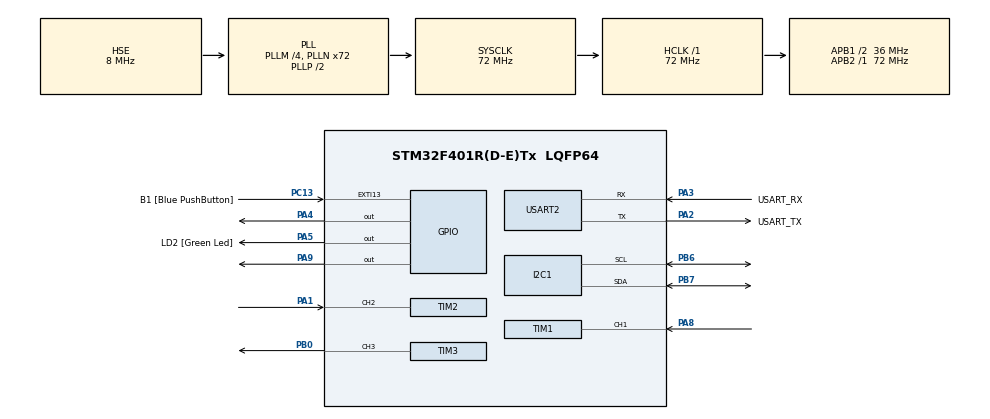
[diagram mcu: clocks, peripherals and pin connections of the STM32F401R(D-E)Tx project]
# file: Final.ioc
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Mcu.Family=STM32F4
Mcu.Name=STM32F401R(D-E)Tx
Mcu.Package=LQFP64
NVIC.EXTI15_10_IRQn=true\:2\:0\:true\:false\:true\:true\:true
NVIC.PriorityGroup=NVIC_PRIORITYGROUP_2
NVIC.TIM1_CC_IRQn=true\:2\:0\:true\:false\:true\:true\:true
NVIC.TIM2_IRQn=true\:2\:0\:true\:false\:true\:true\:true
NVIC.TIM3_IRQn=true\:2\:0\:true\:false\:true\:true\:true
PA1.Signal=S_TIM2_CH2
PA13.GPIO_Label=TMS
PA13.Mode=Serial_Wire
PA13.Signal=SYS_JTMS-SWDIO
PA14.GPIO_Label=TCK
PA14.Mode=Serial_Wire
PA14.Signal=SYS_JTCK-SWCLK
PA2.GPIO_Label=USART_TX
PA2.GPIO_Mode=GPIO_MODE_AF_PP
PA2.GPIO_PuPd=GPIO_NOPULL
PA2.GPIO_Speed=GPIO_SPEED_FREQ_LOW
PA2.Mode=Asynchronous
PA2.Signal=USART2_TX
PA3.GPIO_Label=USART_RX
PA3.GPIO_Mode=GPIO_MODE_AF_PP
PA3.GPIO_PuPd=GPIO_NOPULL
PA3.GPIO_Speed=GPIO_SPEED_FREQ_LOW
PA3.Mode=Asynchronous
PA3.Signal=USART2_RX
PA4.Signal=GPIO_Output
PA5.GPIO_Label=LD2 [Green Led]
PA5.GPIO_Mode=GPIO_MODE_OUTPUT_PP
PA5.GPIO_PuPd=GPIO_NOPULL
PA5.GPIO_Speed=GPIO_SPEED_FREQ_LOW
PA5.Signal=GPIO_Output
PA8.Signal=S_TIM1_CH1
PA9.PinState=GPIO_PIN_RESET
PA9.Signal=GPIO_Output
PB0.Signal=S_TIM3_CH3
PB3.GPIO_Label=SWO
PB3.Signal=SYS_JTDO-SWO
PB6.Mode=I2C
PB6.Signal=I2C1_SCL
PB7.Mode=I2C
PB7.Signal=I2C1_SDA
PC13-ANTI_TAMP.GPIO_Label=B1 [Blue PushButton]
PC13-ANTI_TAMP.GPIO_ModeDefaultEXTI=GPIO_MODE_IT_FALLING
PC13-ANTI_TAMP.GPIO_PuPd=GPIO_NOPULL
PC13-ANTI_TAMP.Signal=GPXTI13
PC14-OSC32_IN.Signal=RCC_OSC32_IN
PC15-OSC32_OUT.Signal=RCC_OSC32_OUT
PH0\ -\ OSC_IN.Mode=HSE-External-Oscillator
PH0\ -\ OSC_IN.Signal=RCC_OSC_IN
PH1\ -\ OSC_OUT.Mode=HSE-External-Oscillator
PH1\ -\ OSC_OUT.Signal=RCC_OSC_OUT
ProjectManager.HeapSize=0x200
ProjectManager.StackSize=0x400
ProjectManager.TargetToolchain=STM32CubeIDE
RCC.48MHZClocksFreq_Value=20571428.57142857
RCC.AHBFreq_Value=72000000
RCC.APB1CLKDivider=RCC_HCLK_DIV2
RCC.APB1Freq_Value=36000000
RCC.APB1TimFreq_Value=72000000
RCC.APB2Freq_Value=72000000
RCC.APB2TimFreq_Value=72000000
RCC.CortexFreq_Value=72000000
RCC.HCLKFreq_Value=72000000
RCC.HSE_VALUE=8000000
RCC.HSI_VALUE=16000000
RCC.LSE_VALUE=32768
RCC.PLLM=4
RCC.PLLN=72
RCC.PLLQ=7
RCC.PLLSourceVirtual=RCC_PLLSOURCE_HSE
RCC.SYSCLKFreq_VALUE=72000000
RCC.SYSCLKSource=RCC_SYSCLKSOURCE_PLLCLK
RCC.VCOOutputFreq_Value=144000000
SH.S_TIM1_CH1.0=TIM1_CH1,Input_Capture1_from_TI1
SH.S_TIM2_CH2.0=TIM2_CH2,Input_Capture2_from_TI2
SH.S_TIM3_CH3.0=TIM3_CH3,PWM Generation3 CH3
TIM1.Channel-Input_Capture1_from_TI1=TIM_CHANNEL_1
TIM1.Period=0xFFFF-1
TIM1.Prescaler=72-1
TIM2.Channel-Input_Capture2_from_TI2=TIM_CHANNEL_2
TIM2.Period=0xffff-1
TIM2.Prescaler=72-1
TIM3.Channel-PWM\ Generation3\ CH3=TIM_CHANNEL_3
TIM3.Period=0xffff-1
TIM3.Prescaler=72-1
USART2.VirtualMode=VM_ASYNC
board=NUCLEO-F401RE

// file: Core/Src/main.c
/* USER CODE BEGIN Header */
/**
  ******************************************************************************
  * @file           : main.c
  * @brief          : Main program body
  ******************************************************************************
  * @attention
  *
  * Copyright (c) 2022 STMicroelectronics.
  * All rights reserved.
  *
  * This software is licensed under terms that can be found in the LICENSE file
  * in the root directory of this software component.
  * If no LICENSE file comes with this software, it is provided AS-IS.
  *
  ******************************************************************************
  */
/* USER CODE END Header */
#include "main.h"

I2C_HandleTypeDef hi2c1;

TIM_HandleTypeDef htim1;
TIM_HandleTypeDef htim2;
TIM_HandleTypeDef htim3;

UART_HandleTypeDef huart2;

void SystemClock_Config(void);
static void MX_GPIO_Init(void);
static void MX_USART2_UART_Init(void);
static void MX_I2C1_Init(void);
static void MX_TIM1_Init(void);
static void MX_TIM2_Init(void);
static void MX_TIM3_Init(void);

/* USER CODE BEGIN 0 */
void delay(uint16_t time){
	__HAL_TIM_SET_COUNTER(&htim1, 0);
	while(__HAL_TIM_GET_COUNTER(&htim1) < time);
}

int counter_tim3 = 0;
void HAL_TIM_PeriodElapsedCallback(TIM_HandleTypeDef *htim) {
	if (htim->Instance == TIM3) {
		counter_tim3++;
	}
}

int num = 0;
uint8_t state  = 0;
const uint8_t object_dis = 20;
uint32_t Difference = 0;

uint32_t IC_Val1 = 0;
uint32_t IC_Val12 = 0;
uint32_t IC_Val2 = 0;
uint32_t IC_Val22 = 0;
uint8_t Is_First_Captured = 0;  // is the first value captured ?
uint8_t Is_First_Captured2 = 0;
uint8_t Distance = object_dis;
uint8_t Distance2 = object_dis;

#define TRIG_PORT_1 GPIOA
#define TRIG_PIN_1 GPIO_PIN_9

#define TRIG_PORT_2 GPIOA
#define TRIG_PIN_2 GPIO_PIN_4

// Let's write the callback function

uint8_t cal_dis(uint32_t val1, uint32_t val2){
	if (val2 > val1){
		Difference = val2-val1;
	}else if (val1 > val2){
		Difference = (0xffff - val1) + val2;
	}
	return Difference * .034/2;
}

void Trig_Ultrasonic_1(TIM_HandleTypeDef *htim){
	if (Is_First_Captured==0) // if the first value is not captured
	{
		IC_Val1 = HAL_TIM_ReadCapturedValue(htim, TIM_CHANNEL_1); // read the first value
		Is_First_Captured = 1;  // set the first captured as true
		// Now change the polarity to falling edge
		__HAL_TIM_SET_CAPTUREPOLARITY(htim, TIM_CHANNEL_1, TIM_INPUTCHANNELPOLARITY_FALLING);
	}
	else if (Is_First_Captured==1)   // if the first is already captured
	{
		IC_Val2 = HAL_TIM_ReadCapturedValue(htim, TIM_CHANNEL_1);  // read second value
		__HAL_TIM_SET_COUNTER(htim, 0);  // reset the counter

		Distance = cal_dis(IC_Val1, IC_Val2);
		Is_First_Captured = 0; // set it back to false

		// set polarity to rising edge
		__HAL_TIM_SET_CAPTUREPOLARITY(htim, TIM_CHANNEL_1, TIM_INPUTCHANNELPOLARITY_RISING);
		__HAL_TIM_DISABLE_IT(&htim1, TIM_IT_CC1);
	}
}

void Trig_Ultrasonic_2(TIM_HandleTypeDef *htim){
	if (Is_First_Captured2==0) // if the first value is not captured
	{
		IC_Val12 = HAL_TIM_ReadCapturedValue(htim, TIM_CHANNEL_2); // read the first value
		Is_First_Captured2 = 1;  // set the first captured as true
		// Now change the polarity to falling edge
		__HAL_TIM_SET_CAPTUREPOLARITY(htim, TIM_CHANNEL_2, TIM_INPUTCHANNELPOLARITY_FALLING);
	}

	else if (Is_First_Captured2==1)   // if the first is already captured
	{
		IC_Val22 = HAL_TIM_ReadCapturedValue(htim, TIM_CHANNEL_2);  // read second value
		__HAL_TIM_SET_COUNTER(htim, 0);  // reset the counter

		Distance2 = cal_dis(IC_Val12, IC_Val22);
		Is_First_Captured2 = 0; // set it back to false

		// set polarity to rising edge
		__HAL_TIM_SET_CAPTUREPOLARITY(htim, TIM_CHANNEL_2, TIM_INPUTCHANNELPOLARITY_RISING);
		__HAL_TIM_DISABLE_IT(&htim2, TIM_IT_CC2);
	}
}

void HAL_TIM_IC_CaptureCallback(TIM_HandleTypeDef *htim)
{
	if(htim->Channel == HAL_TIM_ACTIVE_CHANNEL_1){ // if the interrupt source is channel1
		Trig_Ultrasonic_1(htim);
	}
	if(htim->Channel == HAL_TIM_ACTIVE_CHANNEL_2){ // if the interrupt source is channel2
		Trig_Ultrasonic_2(htim);
	}
}

void HCSR04_Read (void)
{
	HAL_GPIO_WritePin(TRIG_PORT_1, TRIG_PIN_1, GPIO_PIN_SET);  // pull the TRIG_1 pin HIGH
	HAL_GPIO_WritePin(TRIG_PORT_2, TRIG_PIN_2, GPIO_PIN_SET);  // pull the TRIG_2 pin HIGH
	delay(10);  // wait for 10 us
	HAL_GPIO_WritePin(TRIG_PORT_1, TRIG_PIN_1, GPIO_PIN_RESET);   // pull the TRIG_1 pin low
	HAL_GPIO_WritePin(TRIG_PORT_2, TRIG_PIN_2, GPIO_PIN_RESET);   // pull the TRIG_2 pin low
	__HAL_TIM_ENABLE_IT(&htim1, TIM_IT_CC1);
	__HAL_TIM_ENABLE_IT(&htim2, TIM_IT_CC2);
}
/* USER CODE END 0 */

int main(void)
{

  /* MCU Configuration--------------------------------------------------------*/

  /* Reset of all peripherals, Initializes the Flash interface and the Systick. */
  HAL_Init();

  /* Configure the system clock */
  SystemClock_Config();

  /* Initialize all configured peripherals */
  MX_GPIO_Init();
  MX_USART2_UART_Init();
  MX_I2C1_Init();
  MX_TIM1_Init();
  MX_TIM2_Init();
  MX_TIM3_Init();
  /* USER CODE BEGIN 2 */
  HAL_TIM_IC_Start_IT(&htim1,TIM_CHANNEL_1);
  HAL_TIM_IC_Start_IT(&htim2,TIM_CHANNEL_2);
  HAL_TIM_Base_Start_IT(&htim3);
  /* USER CODE END 2 */

  /* Infinite loop */
  while (1)
  {

    /* USER CODE BEGIN 3 */

	// change state
	if(Distance < object_dis){ // #1 detects
		counter_tim3 = 0;
		if(state == 0){
			state = 1;
			HAL_Delay(600);
		} else if(state == 2){
			num++;
			state = 0;
			HAL_Delay(600);
		}
	}else if(Distance2 < object_dis){ // #2 detects
		counter_tim3 = 0;
		if(state == 0){
			state = 2;
			HAL_Delay(600);
		} else if(state == 1){
			if(num > 0) num--;
			state = 0;
			HAL_Delay(600);
		}
	}else if(counter_tim3 > 50){
		counter_tim3 = 0;
		state = 0;
	}

	HCSR04_Read();
	HAL_Delay(100);
  }
  /* USER CODE END 3 */
}

void SystemClock_Config(void)
{
  RCC_OscInitTypeDef RCC_OscInitStruct = {0};
  RCC_ClkInitTypeDef RCC_ClkInitStruct = {0};

  /** Configure the main internal regulator output voltage
  */
  __HAL_RCC_PWR_CLK_ENABLE();
  __HAL_PWR_VOLTAGESCALING_CONFIG(PWR_REGULATOR_VOLTAGE_SCALE2);
  /** Initializes the RCC Oscillators according to the specified parameters
  * in the RCC_OscInitTypeDef structure.
  */
  RCC_OscInitStruct.OscillatorType = RCC_OSCILLATORTYPE_HSE;
  RCC_OscInitStruct.HSEState = RCC_HSE_ON;
  RCC_OscInitStruct.PLL.PLLState = RCC_PLL_ON;
  RCC_OscInitStruct.PLL.PLLSource = RCC_PLLSOURCE_HSE;
  RCC_OscInitStruct.PLL.PLLM = 4;
  RCC_OscInitStruct.PLL.PLLN = 72;
  RCC_OscInitStruct.PLL.PLLP = RCC_PLLP_DIV2;
  RCC_OscInitStruct.PLL.PLLQ = 7;
  if (HAL_RCC_OscConfig(&RCC_OscInitStruct) != HAL_OK)
  {
    Error_Handler();
  }
  /** Initializes the CPU, AHB and APB buses clocks
  */
  RCC_ClkInitStruct.ClockType = RCC_CLOCKTYPE_HCLK|RCC_CLOCKTYPE_SYSCLK
                              |RCC_CLOCKTYPE_PCLK1|RCC_CLOCKTYPE_PCLK2;
  RCC_ClkInitStruct.SYSCLKSource = RCC_SYSCLKSOURCE_PLLCLK;
  RCC_ClkInitStruct.AHBCLKDivider = RCC_SYSCLK_DIV1;
  RCC_ClkInitStruct.APB1CLKDivider = RCC_HCLK_DIV2;
  RCC_ClkInitStruct.APB2CLKDivider = RCC_HCLK_DIV1;

  if (HAL_RCC_ClockConfig(&RCC_ClkInitStruct, FLASH_LATENCY_2) != HAL_OK)
  {
    Error_Handler();
  }
}

static void MX_I2C1_Init(void)
{

  hi2c1.Instance = I2C1;
  hi2c1.Init.ClockSpeed = 100000;
  hi2c1.Init.DutyCycle = I2C_DUTYCYCLE_2;
  hi2c1.Init.OwnAddress1 = 0;
  hi2c1.Init.AddressingMode = I2C_ADDRESSINGMODE_7BIT;
  hi2c1.Init.DualAddressMode = I2C_DUALADDRESS_DISABLE;
  hi2c1.Init.OwnAddress2 = 0;
  hi2c1.Init.GeneralCallMode = I2C_GENERALCALL_DISABLE;
  hi2c1.Init.NoStretchMode = I2C_NOSTRETCH_DISABLE;
  if (HAL_I2C_Init(&hi2c1) != HAL_OK)
  {
    Error_Handler();
  }

}

static void MX_TIM1_Init(void)
{

  TIM_MasterConfigTypeDef sMasterConfig = {0};
  TIM_IC_InitTypeDef sConfigIC = {0};

  htim1.Instance = TIM1;
  htim1.Init.Prescaler = 72-1;
  htim1.Init.CounterMode = TIM_COUNTERMODE_UP;
  htim1.Init.Period = 0xFFFF-1;
  htim1.Init.ClockDivision = TIM_CLOCKDIVISION_DIV1;
  htim1.Init.RepetitionCounter = 0;
  htim1.Init.AutoReloadPreload = TIM_AUTORELOAD_PRELOAD_DISABLE;
  if (HAL_TIM_IC_Init(&htim1) != HAL_OK)
  {
    Error_Handler();
  }
  sMasterConfig.MasterOutputTrigger = TIM_TRGO_RESET;
  sMasterConfig.MasterSlaveMode = TIM_MASTERSLAVEMODE_DISABLE;
  if (HAL_TIMEx_MasterConfigSynchronization(&htim1, &sMasterConfig) != HAL_OK)
  {
    Error_Handler();
  }
  sConfigIC.ICPolarity = TIM_INPUTCHANNELPOLARITY_RISING;
  sConfigIC.ICSelection = TIM_ICSELECTION_DIRECTTI;
  sConfigIC.ICPrescaler = TIM_ICPSC_DIV1;
  sConfigIC.ICFilter = 0;
  if (HAL_TIM_IC_ConfigChannel(&htim1, &sConfigIC, TIM_CHANNEL_1) != HAL_OK)
  {
    Error_Handler();
  }

}

static void MX_TIM2_Init(void)
{

  TIM_MasterConfigTypeDef sMasterConfig = {0};
  TIM_IC_InitTypeDef sConfigIC = {0};

  htim2.Instance = TIM2;
  htim2.Init.Prescaler = 72-1;
  htim2.Init.CounterMode = TIM_COUNTERMODE_UP;
  htim2.Init.Period = 0xffff-1;
  htim2.Init.ClockDivision = TIM_CLOCKDIVISION_DIV1;
  htim2.Init.AutoReloadPreload = TIM_AUTORELOAD_PRELOAD_DISABLE;
  if (HAL_TIM_IC_Init(&htim2) != HAL_OK)
  {
    Error_Handler();
  }
  sMasterConfig.MasterOutputTrigger = TIM_TRGO_RESET;
  sMasterConfig.MasterSlaveMode = TIM_MASTERSLAVEMODE_DISABLE;
  if (HAL_TIMEx_MasterConfigSynchronization(&htim2, &sMasterConfig) != HAL_OK)
  {
    Error_Handler();
  }
  sConfigIC.ICPolarity = TIM_INPUTCHANNELPOLARITY_RISING;
  sConfigIC.ICSelection = TIM_ICSELECTION_DIRECTTI;
  sConfigIC.ICPrescaler = TIM_ICPSC_DIV1;
  sConfigIC.ICFilter = 0;
  if (HAL_TIM_IC_ConfigChannel(&htim2, &sConfigIC, TIM_CHANNEL_2) != HAL_OK)
  {
    Error_Handler();
  }

}

static void MX_TIM3_Init(void)
{

  TIM_MasterConfigTypeDef sMasterConfig = {0};
  TIM_OC_InitTypeDef sConfigOC = {0};

  htim3.Instance = TIM3;
  htim3.Init.Prescaler = 72-1;
  htim3.Init.CounterMode = TIM_COUNTERMODE_UP;
  htim3.Init.Period = 0xffff-1;
  htim3.Init.ClockDivision = TIM_CLOCKDIVISION_DIV1;
  htim3.Init.AutoReloadPreload = TIM_AUTORELOAD_PRELOAD_DISABLE;
  if (HAL_TIM_PWM_Init(&htim3) != HAL_OK)
  {
    Error_Handler();
  }
  sMasterConfig.MasterOutputTrigger = TIM_TRGO_RESET;
  sMasterConfig.MasterSlaveMode = TIM_MASTERSLAVEMODE_DISABLE;
  if (HAL_TIMEx_MasterConfigSynchronization(&htim3, &sMasterConfig) != HAL_OK)
  {
    Error_Handler();
  }
  sConfigOC.OCMode = TIM_OCMODE_PWM1;
  sConfigOC.Pulse = 0;
  sConfigOC.OCPolarity = TIM_OCPOLARITY_HIGH;
  sConfigOC.OCFastMode = TIM_OCFAST_DISABLE;
  if (HAL_TIM_PWM_ConfigChannel(&htim3, &sConfigOC, TIM_CHANNEL_3) != HAL_OK)
  {
    Error_Handler();
  }
  HAL_TIM_MspPostInit(&htim3);

}

static void MX_USART2_UART_Init(void)
{

  huart2.Instance = USART2;
  huart2.Init.BaudRate = 115200;
  huart2.Init.WordLength = UART_WORDLENGTH_8B;
  huart2.Init.StopBits = UART_STOPBITS_1;
  huart2.Init.Parity = UART_PARITY_NONE;
  huart2.Init.Mode = UART_MODE_TX_RX;
  huart2.Init.HwFlowCtl = UART_HWCONTROL_NONE;
  huart2.Init.OverSampling = UART_OVERSAMPLING_16;
  if (HAL_UART_Init(&huart2) != HAL_OK)
  {
    Error_Handler();
  }

}

static void MX_GPIO_Init(void)
{
  GPIO_InitTypeDef GPIO_InitStruct = {0};

  /* GPIO Ports Clock Enable */
  __HAL_RCC_GPIOC_CLK_ENABLE();
  __HAL_RCC_GPIOH_CLK_ENABLE();
  __HAL_RCC_GPIOA_CLK_ENABLE();
  __HAL_RCC_GPIOB_CLK_ENABLE();

  /*Configure GPIO pin Output Level */
  HAL_GPIO_WritePin(GPIOA, GPIO_PIN_4|LD2_Pin|GPIO_PIN_9, GPIO_PIN_RESET);

  /*Configure GPIO pin : B1_Pin */
  GPIO_InitStruct.Pin = B1_Pin;
  GPIO_InitStruct.Mode = GPIO_MODE_IT_FALLING;
  GPIO_InitStruct.Pull = GPIO_NOPULL;
  HAL_GPIO_Init(B1_GPIO_Port, &GPIO_InitStruct);

  /*Configure GPIO pins : PA4 LD2_Pin PA9 */
  GPIO_InitStruct.Pin = GPIO_PIN_4|LD2_Pin|GPIO_PIN_9;
  GPIO_InitStruct.Mode = GPIO_MODE_OUTPUT_PP;
  GPIO_InitStruct.Pull = GPIO_NOPULL;
  GPIO_InitStruct.Speed = GPIO_SPEED_FREQ_LOW;
  HAL_GPIO_Init(GPIOA, &GPIO_InitStruct);

  /* EXTI interrupt init*/
  HAL_NVIC_SetPriority(EXTI15_10_IRQn, 2, 0);
  HAL_NVIC_EnableIRQ(EXTI15_10_IRQn);

}

void Error_Handler(void)
{
  __disable_irq();
  while (1)
  {
  }
}
